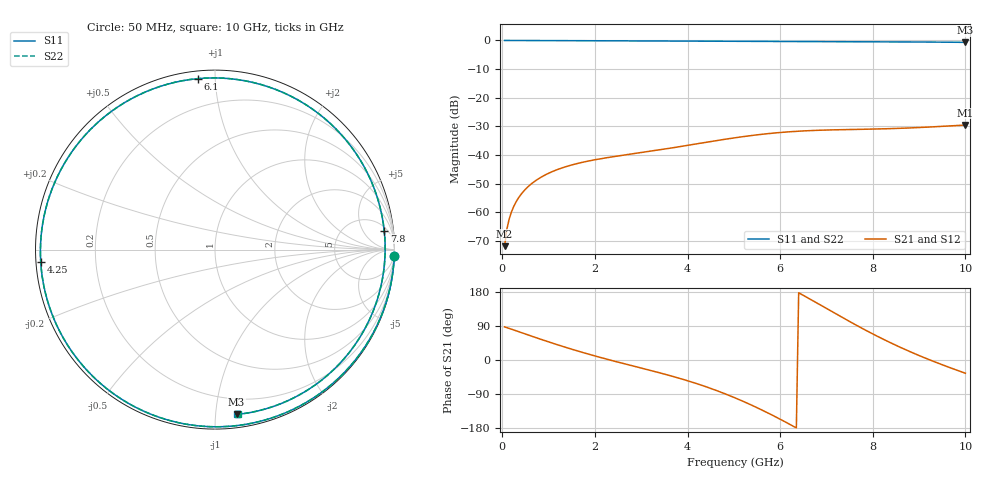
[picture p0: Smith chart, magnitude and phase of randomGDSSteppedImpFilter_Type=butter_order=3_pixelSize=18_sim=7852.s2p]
! freq	dB(S11)	phase(S11)	dB(S12)	phase(S12)
!  dB(S21)	phase(S21)	dB(S22)	phase(S22)
!S-par simulation data
#  GHz  S  DB  R 50
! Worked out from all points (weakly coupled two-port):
!   200 points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, 50 MHz to 10 GHz, reference 50 ohm
!   highest |S21| = -29.55 dB at 10 GHz (marker M1); lowest = -71.9 dB at 50 MHz (marker M2)
!   lowest |S11| = -0.7 dB at 10 GHz (marker M3), VSWR 26.19, Z = 4.38 - j56.8 ohm
!   |S11| at or under -10 dB: nowhere
!   |S22| runs from -0.7 to 0.0 dB; largest |S21 - S12| = 0
!   S11 on the Smith chart (normalised r, x): 50 MHz: 0, -53; 4.25 GHz: 0.01, -0.04; 6.1 GHz: 0.04, +0.91; 7.8 GHz: 7, +15; 10 GHz: 0.09, -1.14
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0.05  -0.00 -2.2  -71.86 87.4  -71.86 87.4  -0.01 -2.2
0.1  -0.01 -4.3  -65.82 85.4  -65.82 85.4  -0.01 -4.3
0.2  -0.01 -8.6  -59.81 81.2  -59.81 81.2  -0.01 -8.6
0.35  -0.02 -15.1  -55.00 74.8  -55.00 74.8  -0.02 -15.1
0.5  -0.03 -21.5  -51.98 68.5  -51.98 68.5  -0.02 -21.5
1  -0.05 -42.7  -46.39 47.8  -46.39 47.8  -0.05 -42.7
1.75  -0.09 -73.8  -42.50 19.4  -42.50 19.4  -0.09 -73.8
2.15  -0.11 -90.0  -41.25 5.7  -41.25 5.7  -0.11 -90.0
2.55  -0.13 -106.1  -40.23 -7.2  -40.23 -7.2  -0.13 -106.1
3.4  -0.18 -140.3  -38.21 -33.9  -38.21 -33.9  -0.18 -140.3
3.85  -0.21 -158.9  -37.05 -49.2  -37.05 -49.2  -0.21 -158.8
4.25  -0.23 -175.8  -35.98 -64.4  -35.98 -64.4  -0.23 -175.7
4.65  -0.26 166.6  -34.92 -81.7  -34.92 -81.7  -0.26 166.7
5.05  -0.30 148.2  -33.94 -101.2  -33.94 -101.2  -0.30 148.3
5.6  -0.34 121.4  -32.79 -131.6  -32.79 -131.6  -0.34 121.6
6.1  -0.38 95.6  -32.02 -162.7  -32.02 -162.7  -0.38 95.9
6.7  -0.41 63.6  -31.46 156.9  -31.46 156.9  -0.41 63.9
7.25  -0.44 34.3  -31.19 118.7  -31.19 118.7  -0.44 34.8
7.8  -0.46 6.4  -31.03 81.6  -31.03 81.6  -0.46 6.9
8.35  -0.49 -19.3  -30.82 47.5  -30.82 47.5  -0.48 -18.9
9.15  -0.55 -52.4  -30.30 4.2  -30.30 4.2  -0.55 -51.9
10  -0.66 -82.5  -29.55 -34.9  -29.55 -34.9  -0.66 -82.1
